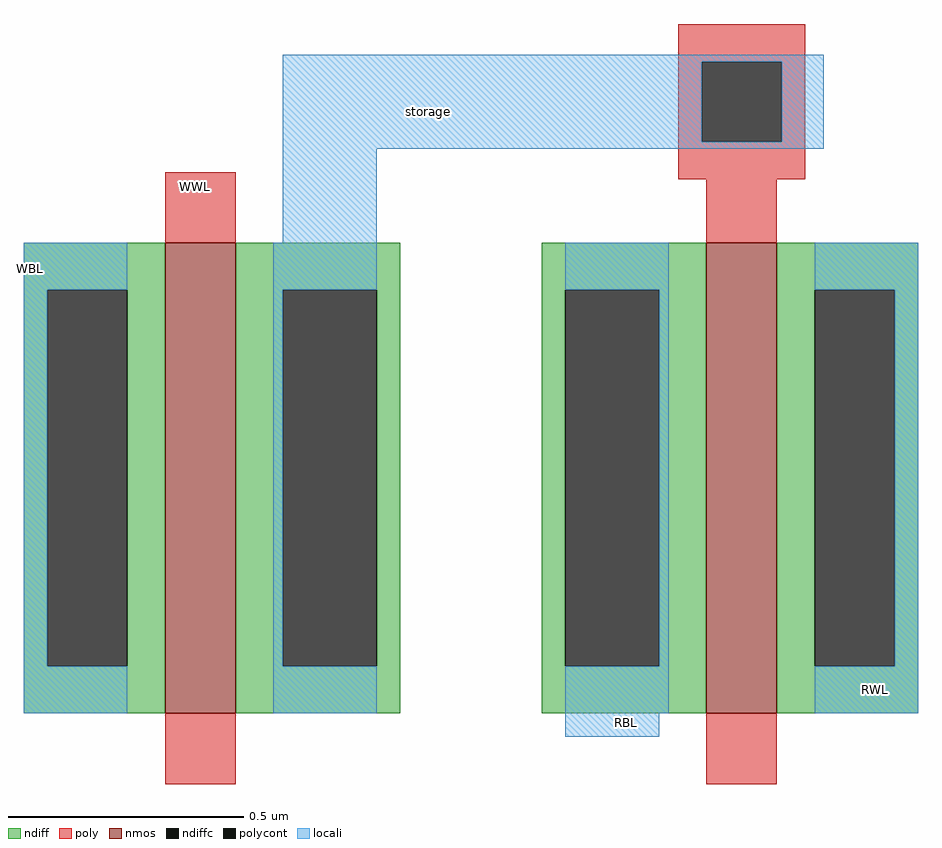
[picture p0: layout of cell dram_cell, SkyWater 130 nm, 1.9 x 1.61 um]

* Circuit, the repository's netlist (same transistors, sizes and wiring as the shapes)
* SPICE3 file created from dram_cell.ext - technology: sky130A

.subckt dram_cell WWL WBL RWL RBL
X0 RWL a_50_n70# RBL VSUBS sky130_fd_pr__nfet_01v8 ad=3e+11p pd=2.6e+06u as=3.5e+11p ps=2.7e+06u w=1e+06u l=150000u
X1 a_50_n70# WWL WBL VSUBS sky130_fd_pr__nfet_01v8 ad=3.5e+11p pd=2.7e+06u as=3e+11p ps=2.6e+06u w=1e+06u l=150000u
.ends

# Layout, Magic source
magic
tech sky130B
magscale 1 2
<< nmos >>
rect 20 -70 50 130
rect 250 -70 280 130
<< ndiff >>
rect -40 110 20 130
rect -40 -50 -30 110
rect 4 -50 20 110
rect -40 -70 20 -50
rect 50 110 120 130
rect 50 -50 70 110
rect 110 -50 120 110
rect 50 -70 120 -50
rect 180 110 250 130
rect 180 -50 190 110
rect 230 -50 250 110
rect 180 -70 250 -50
rect 280 110 340 130
rect 280 -50 296 110
rect 330 -50 340 110
rect 280 -70 340 -50
<< ndiffc >>
rect -30 -50 4 110
rect 70 -50 110 110
rect 190 -50 230 110
rect 296 -50 330 110
<< poly >>
rect 238 207 292 223
rect 238 173 248 207
rect 282 173 292 207
rect 20 130 50 160
rect 238 157 292 173
rect 250 130 280 157
rect 20 -100 50 -70
rect 250 -100 280 -70
<< polycont >>
rect 248 173 282 207
<< locali >>
rect 70 207 300 210
rect 70 173 248 207
rect 282 173 300 207
rect 70 170 300 173
rect 70 130 110 170
rect -40 110 4 130
rect -40 -50 -30 110
rect -40 -70 4 -50
rect 66 110 110 130
rect 66 -50 70 110
rect 66 -70 110 -50
rect 190 110 234 130
rect 230 -50 234 110
rect 190 -70 234 -50
rect 296 110 340 130
rect 330 -50 340 110
rect 296 -70 340 -50
rect 190 -80 230 -70
<< labels >>
rlabel poly 33 154 33 154 1 WWL
port 1 n
rlabel locali -37 119 -37 119 3 WBL
port 2 e
rlabel locali 322 -60 322 -60 1 RWL
port 3 n
rlabel locali 216 -74 216 -74 1 RBL
port 4 n
rlabel locali 132 186 132 186 1 storage
<< end >>
